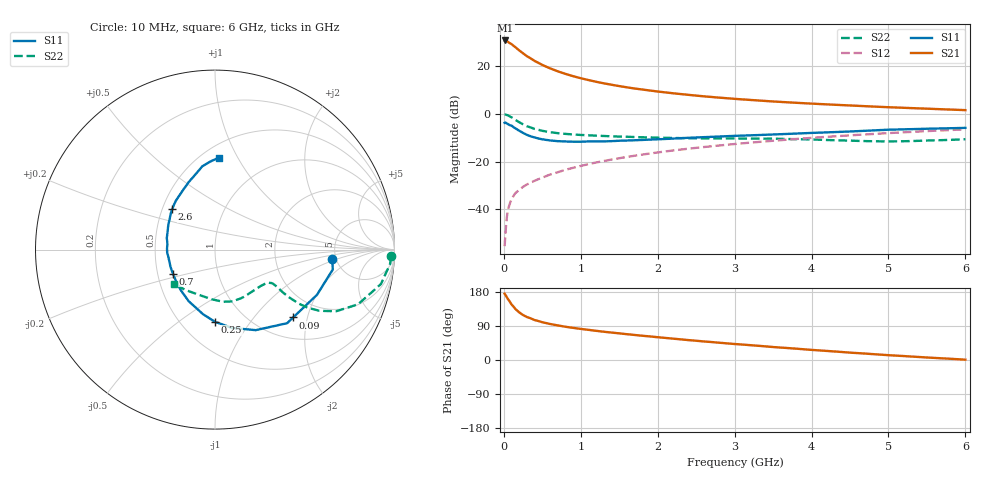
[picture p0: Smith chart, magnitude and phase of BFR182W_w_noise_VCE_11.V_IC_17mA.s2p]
! Infineon Technologies  Discrete & RF Semiconductors
! BFR182W
! VCE =  11. V,  IC =  17 mA
! Common Emitter S-Parameters:  Jan 2017
# GHz  S  MA  R  50
!  f  S11  S21  S12  S22
! GHz  MAG  ANG  MAG  ANG  MAG  ANG  MAG  ANG
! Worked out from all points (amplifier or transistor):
!   77 points, 10 MHz to 6 GHz, reference 50 ohm
!   highest |S21| = 30.8 dB at 20 MHz (marker M1)
!   |S21| within 3 dB of that: start of sweep to 156.5 MHz
!   unconditionally stable (mu >= 1): 907.7 MHz to 2.479 GHz
!   at 130 MHz: K = 0.38, MSG = 31.3 dB, |S12| = -34.1 dB
!   at 2.2 GHz: K = 1.01, MAG = 11.2 dB, |S12| = -15.3 dB
!   at 6 GHz: K = 0.86, MSG = 4.0 dB, |S12| = -6.4 dB
!   lowest NFmin = 1.32 dB at 450 MHz
!   S11 on the Smith chart (normalised r, x): 10 MHz: 4.63, -0.87; 90 MHz: 1.44, -1.64; 250 MHz: 0.72, -0.69; 700 MHz: 0.60, -0.17; 2.6 GHz: 0.56, +0.28; 6 GHz: 0.61, +0.84
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0.01  0.6556 -4.7  34.8 175.0  0.0017 90.0  0.984 -2.2
0.02  0.6656 -9.6  34.87 171.9  0.0029 95.5  0.9784 -4.8
0.05  0.6217 -23.9  32.95 161.8  0.0092 75.0  0.9445 -11.7
0.09  0.5766 -41.0  29.81 149.9  0.015 73.2  0.87 -18.9
0.1  0.5741 -45.6  29.26 146.6  0.0164 72.9  0.8537 -20.9
0.15  0.5027 -63.2  25.18 134.7  0.022 66.8  0.7566 -27.0
0.2  0.4465 -77.8  21.6 125.7  0.0258 65.5  0.674 -30.4
0.25  0.4019 -90.1  18.73 118.6  0.0299 63.3  0.6081 -32.1
0.3  0.3661 -100.5  16.34 113.4  0.0334 63.6  0.5559 -32.8
0.4  0.3228 -117.0  12.99 105.4  0.0399 64.9  0.4877 -32.8
0.5  0.2956 -130.2  10.69 99.7  0.0465 66.1  0.4451 -32.2
0.6  0.2796 -141.0  9.087 95.1  0.0538 66.6  0.4169 -31.4
0.7  0.2701 -150.2  7.871 91.3  0.0602 68.1  0.3976 -30.9
0.9  0.2631 -164.7  6.213 84.8  0.0746 69.2  0.3736 -30.5
1.1  0.267 -176.6  5.157 79.6  0.0891 69.6  0.3585 -31.2
1.5  0.2759 166.7  3.854 70.3  0.1185 69.0  0.3371 -34.4
2.1  0.3003 148.3  2.843 58.3  0.1645 66.4  0.3175 -43.5
2.6  0.3278 136.7  2.351 49.0  0.2033 63.4  0.3092 -53.5
3.1  0.3531 126.6  2.029 40.8  0.2432 59.9  0.3063 -63.5
4.1  0.4075 110.2  1.624 25.3  0.3248 51.8  0.2896 -83.7
5.1  0.4739 97.4  1.37 11.5  0.4065 42.6  0.2679 -113.0
6  0.5128 87.5  1.208 0.9  0.4775 33.7  0.2969 -140.1
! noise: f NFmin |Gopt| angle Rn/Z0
0.45  1.32  0.06  165  0.15
0.9  1.38  0.07  166  0.15
1.9  1.89  0.25  -146  0.15
2.4  2.15  0.25  -131  0.24
